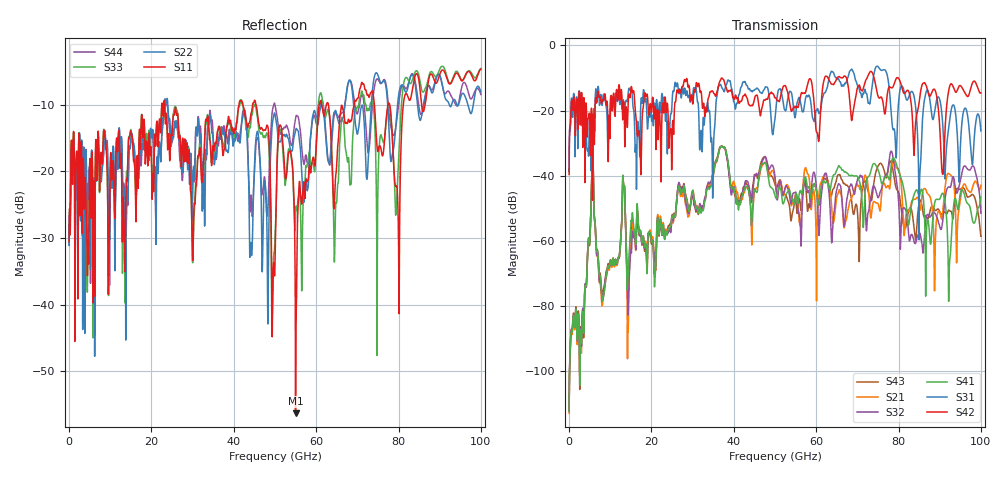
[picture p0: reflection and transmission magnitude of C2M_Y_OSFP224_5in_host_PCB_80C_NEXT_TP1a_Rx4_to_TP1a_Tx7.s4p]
# GHz S RI R 45
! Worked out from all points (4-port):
!   4000 points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, 25 MHz to 100 GHz, reference 45 ohm
!   strongest paths, dB at 25 MHz, 25.02 GHz, 50.02 GHz, 75.03 GHz, 100 GHz:
!     S42: -39.6, -28.1, -16.1, -15.6, -14.6
!     S31: -38.9, -17.5, -22.4, -6.5, -26.3
!     S41: -112.5, -52.5, -46.2, -38.2, -46.6
!     S32: -112.2, -53.2, -40.6, -46.8, -51.6
!     S21: -113.1, -53.2, -41.4, -48.6, -43.0
!     S43: -111.8, -52.1, -42.6, -37.1, -58.7
!   lowest |S11| = -56.3 dB at 55 GHz (marker M1), VSWR 1.00, Z = 44.9 + j0.0361 ohm
!   |S11| at or under -10 dB: start of sweep to 22.52 GHz; 23.23 GHz to 41.27 GHz (18.04 GHz wide, 55.9 % of centre); 45.37 GHz to 60.73 GHz (15.36 GHz wide, 29 % of centre) (the widest 3 of 10)
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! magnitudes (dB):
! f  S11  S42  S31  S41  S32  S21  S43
! 25 MHz  -30.5  -39.6  -38.9  -112.5  -112.2  -113.1  -111.8
! 5.75 GHz  -22.7  -30.7  -35.1  -33.2  -33.4  -33.4  -33.2
! 8.175 GHz  -17.2  -16.6  -16.9  -78.3  -77.8  -78.9  -76.0
! 13.22 GHz  -24.4  -17.4  -16.9  -43.1  -43.2  -43.3  -43.0
! 37.02 GHz  -15.0  -10.0  -12.8  -30.9  -31.1  -31.1  -30.9
! 55 GHz  -56.3  -18.9  -21.5  -46.0  -45.0  -45.7  -47.5
! 100 GHz  -4.7  -14.6  -26.3  -46.6  -51.6  -43.0  -58.7
